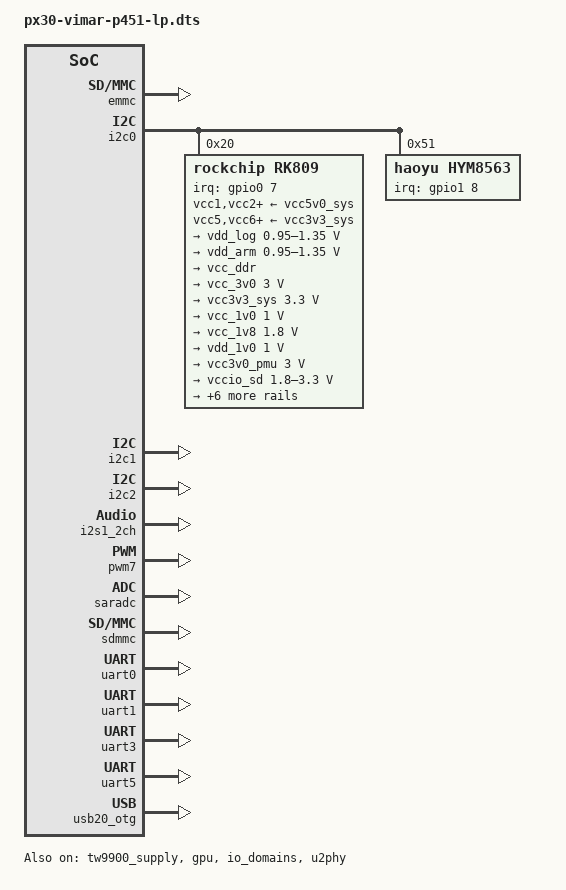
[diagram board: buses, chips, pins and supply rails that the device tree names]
// SPDX-License-Identifier: (GPL-2.0+ OR MIT)
/*
 * Copyright (c) 2018 Fuzhou Rockchip Electronics Co., Ltd
 * (C) Copyright 2019 Vimar
 */

/dts-v1/;
#include "px30-vimar-p451.dts"

&panel_backlight {
	status = "okay";	
};

&panel {
	status = "okay";

};

&tw9900_supply {
	status = "okay";
};

&cpu0 {
	cpu-supply = <&vdd_arm>;
};

&cpu1 {
	status = "disabled";
};

&cpu2 {
	status = "disabled";
};

&cpu3 {
	status = "disabled";
};

&emmc {
	status = "okay";
};

&gpu {
	status = "okay";
};

&i2c0 {
	status = "okay";

	rk809: pmic@20 {
		compatible = "rockchip,rk809";
		reg = <0x20>;
		interrupt-parent = <&gpio0>;
		interrupts = <7 IRQ_TYPE_LEVEL_LOW>;
		pinctrl-names = "default";
		pinctrl-0 = <&pmic_int>;
		rockchip,system-power-controller;
		wakeup-source;
		#clock-cells = <0>;
		clock-output-names = "pmic-xout32k";

		vcc1-supply = <&vcc5v0_sys>;
		vcc2-supply = <&vcc5v0_sys>;
		vcc3-supply = <&vcc5v0_sys>;
		vcc4-supply = <&vcc5v0_sys>;
		vcc5-supply = <&vcc3v3_sys>;
		vcc6-supply = <&vcc3v3_sys>;
		vcc7-supply = <&vcc3v3_sys>;
		vcc8-supply = <&vcc3v3_sys>;
		vcc9-supply = <&vcc5v0_sys>;

		regulators {
			vdd_log: DCDC_REG1 {
				regulator-name = "vdd_log";
				regulator-min-microvolt = <950000>;
				regulator-max-microvolt = <1350000>;
				regulator-ramp-delay = <6001>;
				regulator-always-on;
				regulator-boot-on;

				regulator-state-mem {
					regulator-on-in-suspend;
					regulator-suspend-microvolt = <950000>;
				};
			};

			vdd_arm: DCDC_REG2 {
				regulator-name = "vdd_arm";
				regulator-min-microvolt = <950000>;
				regulator-max-microvolt = <1350000>;
				regulator-ramp-delay = <6001>;
				regulator-always-on;
				regulator-boot-on;

				regulator-state-mem {
					regulator-off-in-suspend;
					regulator-suspend-microvolt = <950000>;
				};
			};

			vcc_ddr: DCDC_REG3 {
				regulator-name = "vcc_ddr";
				regulator-always-on;
				regulator-boot-on;

				regulator-state-mem {
					regulator-on-in-suspend;
				};
			};

			vcc_3v0: vcc_rmii: DCDC_REG4 {
				regulator-name = "vcc_3v0";
				regulator-min-microvolt = <3000000>;
				regulator-max-microvolt = <3000000>;
				regulator-always-on;
				regulator-boot-on;

				regulator-state-mem {
					regulator-on-in-suspend;
					regulator-suspend-microvolt = <3000000>;
				};
			};

			vcc3v3_sys: DCDC_REG5 {
				regulator-name = "vcc3v3_sys";
				regulator-min-microvolt = <3300000>;
				regulator-max-microvolt = <3300000>;
				regulator-always-on;
				regulator-boot-on;

				regulator-state-mem {
					regulator-on-in-suspend;
					regulator-suspend-microvolt = <3300000>;
				};
			};

			vcc_1v0: LDO_REG1 {
				regulator-name = "vcc_1v0";
				regulator-min-microvolt = <1000000>;
				regulator-max-microvolt = <1000000>;
				regulator-always-on;
				regulator-boot-on;

				regulator-state-mem {
					regulator-on-in-suspend;
					regulator-suspend-microvolt = <1000000>;
				};
			};

			vcc_1v8: vccio_flash: vccio_sdio: LDO_REG2 {
				regulator-name = "vcc_1v8";
				regulator-min-microvolt = <1800000>;
				regulator-max-microvolt = <1800000>;
				regulator-always-on;
				regulator-boot-on;

				regulator-state-mem {
					regulator-on-in-suspend;
					regulator-suspend-microvolt = <1800000>;
				};
			};

			vdd_1v0: LDO_REG3 {
				regulator-name = "vdd_1v0";
				regulator-min-microvolt = <1000000>;
				regulator-max-microvolt = <1000000>;
				regulator-always-on;
				regulator-boot-on;

				regulator-state-mem {
					regulator-on-in-suspend;
					regulator-suspend-microvolt = <1000000>;
				};
			};

			vcc3v0_pmu: LDO_REG4 {
				regulator-name = "vcc3v0_pmu";
				regulator-min-microvolt = <3000000>;
				regulator-max-microvolt = <3000000>;
				regulator-always-on;
				regulator-boot-on;

				regulator-state-mem {
					regulator-on-in-suspend;
					regulator-suspend-microvolt = <3000000>;
				};
			};

			vccio_sd: LDO_REG5 {
				regulator-name = "vccio_sd";
				regulator-min-microvolt = <1800000>;
				regulator-max-microvolt = <3300000>;
				regulator-always-on;
				regulator-boot-on;

				regulator-state-mem {
					regulator-on-in-suspend;
					regulator-suspend-microvolt = <3300000>;
				};
			};

			vcc_sd: LDO_REG6 {
				regulator-name = "vcc_sd";
				regulator-min-microvolt = <3300000>;
				regulator-max-microvolt = <3300000>;
				regulator-boot-on;

				regulator-state-mem {
					regulator-on-in-suspend;
					regulator-suspend-microvolt = <3300000>;
				};
			};

			vcc2v8_dvp: LDO_REG7 {
				regulator-name = "vcc2v8_dvp";
				regulator-min-microvolt = <2800000>;
				regulator-max-microvolt = <2800000>;
				regulator-boot-on;

				regulator-state-mem {
					regulator-off-in-suspend;
					regulator-suspend-microvolt = <2800000>;
				};
			};

			vcc1v8_dvp: LDO_REG8 {
				regulator-name = "vcc1v8_dvp";
				regulator-min-microvolt = <1800000>;
				regulator-max-microvolt = <1800000>;
				regulator-boot-on;

				regulator-state-mem {
					regulator-on-in-suspend;
					regulator-suspend-microvolt = <1800000>;
				};
			};

			vcc1v5_dvp: LDO_REG9 {
				regulator-name = "vcc1v5_dvp";
				regulator-min-microvolt = <1500000>;
				regulator-max-microvolt = <1500000>;
				regulator-boot-on;

				regulator-state-mem {
					regulator-off-in-suspend;
					regulator-suspend-microvolt = <1500000>;
				};
			};

			vcc5v0_host: SWITCH_REG1 {
				regulator-name = "vcc5v0_host";
				regulator-always-on;
				regulator-boot-on;
			};

			vcc3v3_lcd: SWITCH_REG2 {
				regulator-name = "vcc3v3_lcd";
				regulator-boot-on;
			};
		};
	};

	hym8563: rtc@51 {
		compatible = "haoyu,hym8563";
		pinctrl-names = "default";
		pinctrl-0 = <&hym8563_int>;
		reg = <0x51>;

		interrupt-parent = <&gpio1>;
		interrupts = <8 IRQ_TYPE_EDGE_FALLING>;
		#clock-cells = <0>;
	};
};

&i2c1 {
	status = "okay";
};

&touchscreen {
	status = "disabled";
};

&i2c2 {
	status = "okay";
};

&tw9900 {
	status = "disabled";
};

&i2s1_2ch {
	status = "okay";
};

&io_domains {
	status = "okay";
};

&pmu_io_domains {
	status = "okay";
};

&pwm7 {
	status = "okay";
};

&saradc {
	status = "okay";
};

&sdmmc {
	status = "okay";
};

&u2phy {
	status = "okay";
};

&uart0 {
	status = "okay";
};

/* AP6212A WiFi/Bluetooth module */
&uart1 {
	pinctrl-names = "default";
	pinctrl-0 = <&uart1_xfer &uart1_cts>;
	status = "okay";
};

/* CN12 connector (conflicts with SD card) */
&uart2 {
	status = "disabled";
};

/* Console (available on the SoM) */
&uart3 {
	pinctrl-names = "default";
	pinctrl-0 = <&uart3m0_xfer>;
	status = "okay";
};

/* MCU */
&uart5 {
	status = "okay";
};

&usb20_otg {
	status = "okay";
};

&display_subsystem {
	status = "disabled";
};

&dsi_dphy {
	status = "disabled";
};

&lvds {
	status = "disabled";
};

&vip {
	status = "disabled";
};

&vopb {
	status = "disabled";
};

&vopb_mmu {
	status = "disabled";
};

&vopl {
	status = "disabled";
};

&vopl_mmu {
	status = "disabled";
};
